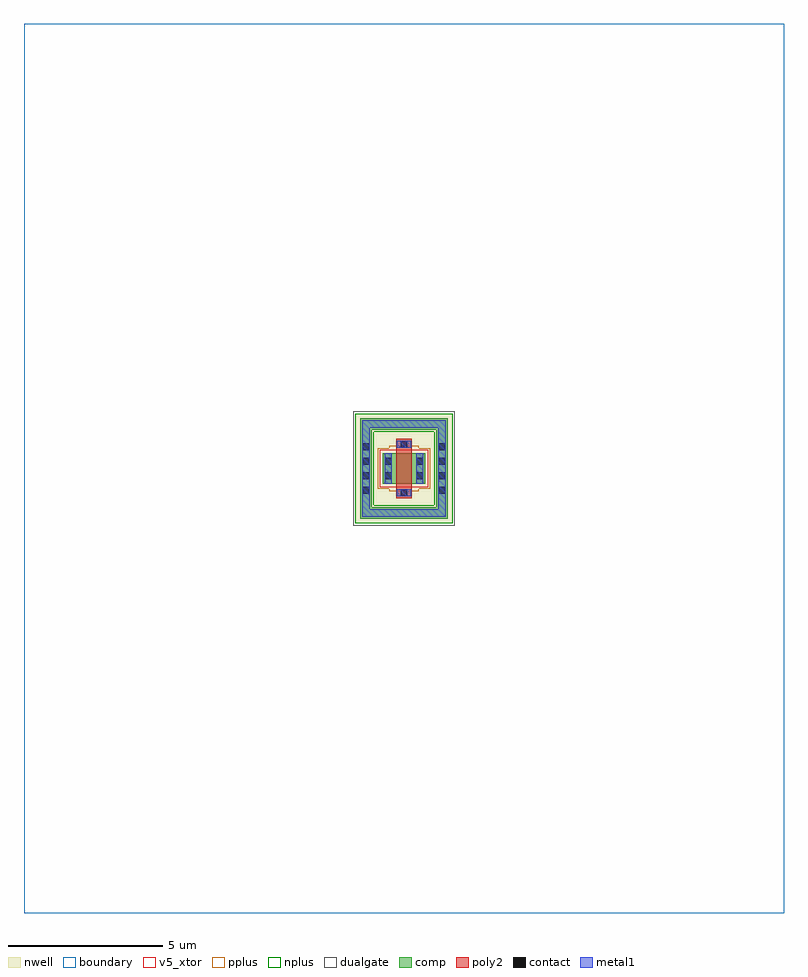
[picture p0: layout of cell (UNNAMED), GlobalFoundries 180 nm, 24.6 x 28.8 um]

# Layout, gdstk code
import gdstk
lib = gdstk.Library(unit=1e-6, precision=1e-09)
def R(c, l, rs):  # rectangles x0, y0, x1, y1
    for r in rs: c.add(gdstk.rectangle(r[:2], r[2:], *l))
def A(c, l, x, y, w, h, nx, ny, dx, dy):  # array of equal rectangles
    R(c, l, [(x+i*dx, y+j*dy, x+i*dx+w, y+j*dy+h) for i in range(nx) for j in range(ny)])
boundary = (0, 0)
nwell = (21, 0)
comp = (22, 0)
poly2 = (30, 0)
pplus = (31, 0)
nplus = (32, 0)
contact = (33, 0)
metal1 = (34, 0)
dualgate = (55, 0)
v5_xtor = (112, 1)

c__unnamed_ = lib.new_cell('(UNNAMED)')
R(c__unnamed_, boundary, [(-12.3,-14.4,12.3,14.4)])
R(c__unnamed_, nwell, [(-1.57,-1.78,1.57,1.78)])
R(c__unnamed_, comp, [(-1.41,-1.62,1.41,-1.26), (-1.41,-1.26,-1.05,1.26), (1.05,-1.26,1.41,1.26), (-0.69,-0.5,0.69,0.5), (-1.41,1.26,1.41,1.62)])
R(c__unnamed_, poly2, [(-0.25,-0.96,0.25,0.96)])
R(c__unnamed_, pplus, [(-0.48,-0.73,0.48,-0.66), (-0.85,-0.66,0.85,0.66), (-0.48,0.66,0.48,0.73)])
R(c__unnamed_, nplus, [(-1.57,-1.78,1.57,-1.19), (-1.57,-1.19,-0.98,1.19), (0.98,-1.19,1.57,1.19), (-1.57,1.19,1.57,1.78)])
A(c__unnamed_, contact, -1.34, -0.815, 0.22, 0.22, 1, 4, 0, 0.47)
A(c__unnamed_, contact, 1.12, -0.815, 0.22, 0.22, 1, 4, 0, 0.47)
R(c__unnamed_, contact, [(-0.11,-0.89,0.11,-0.67), (-0.62,-0.345,-0.4,-0.125), (0.4,-0.345,0.62,-0.125), (-0.62,0.125,-0.4,0.345), (0.4,0.125,0.62,0.345), (-0.11,0.67,0.11,0.89)])
R(c__unnamed_, metal1, [(-1.345,-1.555,1.345,-1.325), (-1.345,-1.325,-1.115,1.325), (1.115,-1.325,1.345,1.325), (-0.24,-0.895,0.24,-0.665), (-0.625,-0.49,-0.395,0.49), (0.395,-0.49,0.625,0.49), (-0.24,0.665,0.24,0.895), (-1.345,1.325,1.345,1.555)])
R(c__unnamed_, dualgate, [(-1.65,-1.86,1.65,1.86)])
R(c__unnamed_, v5_xtor, [(-0.79,-0.6,0.79,0.6)])

lib.write_gds('_UNNAMED_.gds')
